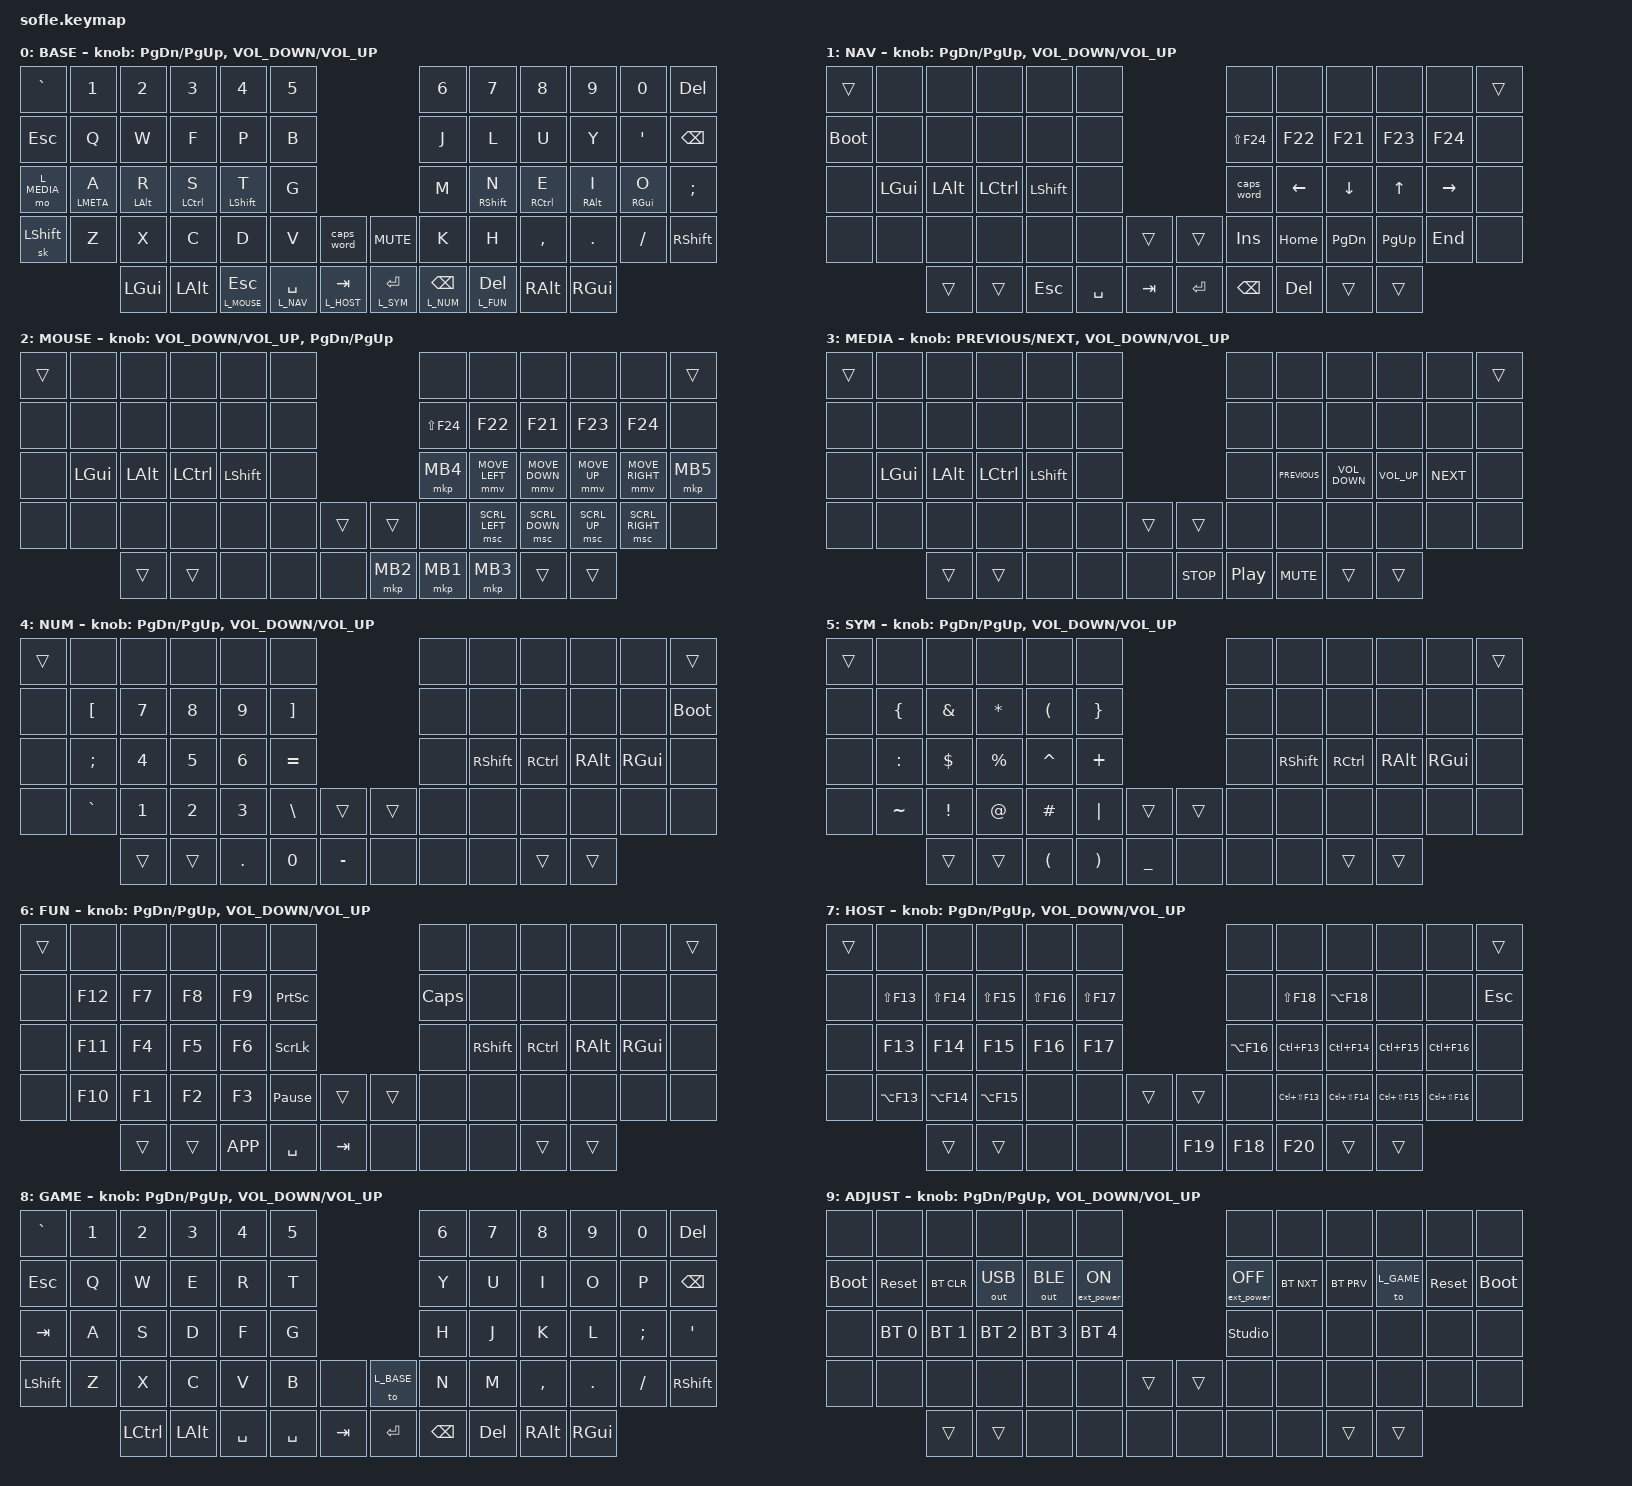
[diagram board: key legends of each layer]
/*
 * Copyright (c) 2020 The ZMK Contributors
 *
 * SPDX-License-Identifier: MIT
 */

#define ZMK_POINTING_DEFAULT_MOVE_VAL 800
#define ZMK_POINTING_DEFAULT_SCRL_VAL 20

#include <zmk-helpers/key-labels/sofle.h>
#include <behaviors.dtsi>
#include <dt-bindings/zmk/bt.h>
#include <dt-bindings/zmk/ext_power.h>
#include <dt-bindings/zmk/keys.h>
#include <dt-bindings/zmk/outputs.h>
#include <dt-bindings/zmk/pointing.h>

/* Layer numbers are part of the persisted ZMK keymap state. */
#define L_BASE 0
#define L_NAV 1
#define L_MOUSE 2
#define L_MEDIA 3
#define L_NUM 4
#define L_SYM 5
#define L_FUN 6
#define L_HOST 7
#define L_GAME 8
#define L_ADJUST 9

&sk {
    release-after-ms = <1000>;
    quick-release;
    lazy;
    ignore-modifiers;
};

&mmv {
    acceleration-exponent = <1>;
    time-to-max-speed-ms = <500>;
    delay-ms = <0>;
};

&lt {
    tapping-term-ms = <220>;
    flavor = "tap-preferred";
    quick-tap-ms = <180>;
};

/ {
    behaviors {
        hml: home_row_mods_left {
            compatible = "zmk,behavior-hold-tap";
            #binding-cells = <2>;
            flavor = "balanced";
            tapping-term-ms = <280>;
            quick-tap-ms = <175>;
            require-prior-idle-ms = <150>;
            hold-trigger-key-positions = <
                KEYS_R
                THUMBS_R
                RN0 RN1 RN2 RN3 RN4 RN5
                REC
            >;
            hold-trigger-on-release;
            bindings = <&kp>, <&kp>;
        };

        hmr: home_row_mods_right {
            compatible = "zmk,behavior-hold-tap";
            #binding-cells = <2>;
            flavor = "balanced";
            tapping-term-ms = <280>;
            quick-tap-ms = <175>;
            require-prior-idle-ms = <150>;
            hold-trigger-key-positions = <
                KEYS_L
                THUMBS_L
                LN0 LN1 LN2 LN3 LN4 LN5
                LEC
            >;
            hold-trigger-on-release;
            bindings = <&kp>, <&kp>;
        };

        /*
         * Dedicated HOST thumb layer-tap. Deliberately no quick-tap or
         * require-prior-idle: HOST must engage reliably immediately after
         * ordinary typing.
         */
        host_lt: host_lt {
            compatible = "zmk,behavior-hold-tap";
            #binding-cells = <2>;
            flavor = "balanced";
            tapping-term-ms = <200>;
            bindings = <&mo>, <&kp>;
        };
    };

    combos {
        compatible = "zmk,combos";
    };

    conditional_layers {
        compatible = "zmk,conditional-layers";

        adjust {
            if-layers = <L_NAV L_NUM>;
            then-layer = <L_ADJUST>;
        };
    };

    keymap {
        compatible = "zmk,keymap";

        BASE {
            label = "BASE";
            display-name = "BASE";
            /* Colemak-DH, bilateral HRM, dedicated number row, rotary encoders, and 6-layer thumb model. */
            bindings = <
&kp GRAVE   &kp N1             &kp N2             &kp N3             &kp N4              &kp N5                                         &kp N6              &kp N7              &kp N8             &kp N9             &kp N0             &kp DELETE
&kp ESCAPE  &kp Q              &kp W              &kp F              &kp P               &kp B                                          &kp J               &kp L               &kp U              &kp Y              &kp SQT            &kp BACKSPACE
&mo L_MEDIA &hml LMETA A       &hml LEFT_ALT R    &hml LCTRL S       &hml LEFT_SHIFT T   &kp G                                          &kp M               &hmr RIGHT_SHIFT N  &hmr RCTRL E       &hmr RIGHT_ALT I   &hmr RIGHT_GUI O   &kp SEMICOLON
&sk LSHFT   &kp Z              &kp X              &kp C              &kp D               &kp V       &caps_word          &kp C_MUTE     &kp K               &kp H               &kp COMMA          &kp DOT            &kp SLASH          &kp RIGHT_SHIFT
                               &kp LGUI           &kp LALT           &lt L_MOUSE ESCAPE  &lt L_NAV SPACE &host_lt L_HOST TAB &lt L_SYM ENTER &lt L_NUM BACKSPACE &lt L_FUN DELETE &kp RALT           &kp RGUI
            >;

            sensor-bindings =
                <&inc_dec_kp PAGE_DOWN PAGE_UP>,
                <&inc_dec_kp C_VOLUME_DOWN C_VOLUME_UP>;
        };

        NAV {
            label = "NAV";
            display-name = "NAV";
            /*
             * Right-hand navigation mirrors MOUSE and MEDIA. Functional-layer
             * thumbs are explicit. LT5 provides same-side left bootloader shortcut.
             * Semantic F21-F24 editing signals are interpreted by host bridges.
             */
            bindings = <
&trans       &none             &none              &none              &none               &none                                          &none               &none               &none              &none              &none              &trans
&bootloader  &none             &none              &none              &none               &none                                          &kp LS(F24)         &kp F22             &kp F21            &kp F23            &kp F24            &none
&none        &kp LGUI          &kp LALT           &kp LCTRL          &kp LEFT_SHIFT      &none                                          &caps_word          &kp LEFT            &kp DOWN           &kp UP             &kp RIGHT          &none
&none        &none             &none              &none              &none               &none       &trans              &trans         &kp INSERT          &kp HOME            &kp PAGE_DOWN      &kp PAGE_UP        &kp END            &none
                               &trans             &trans             &kp ESCAPE          &kp SPACE   &kp TAB             &kp ENTER      &kp BACKSPACE       &kp DELETE          &trans             &trans
            >;

            sensor-bindings =
                <&inc_dec_kp PAGE_DOWN PAGE_UP>,
                <&inc_dec_kp C_VOLUME_DOWN C_VOLUME_UP>;
        };

        MOUSE {
            label = "MOUSE";
            display-name = "MOUSE";
            /* NAV geometry: pointer on home, wheel on secondary bank, F21-F24 editing. */
            bindings = <
&trans       &none             &none              &none              &none               &none                                          &none               &none               &none              &none              &none              &trans
&none        &none             &none              &none              &none               &none                                          &kp LS(F24)         &kp F22             &kp F21            &kp F23            &kp F24            &none
&none        &kp LGUI          &kp LALT           &kp LCTRL          &kp LEFT_SHIFT      &none                                          &mkp MB4            &mmv MOVE_LEFT      &mmv MOVE_DOWN     &mmv MOVE_UP       &mmv MOVE_RIGHT    &mkp MB5
&none        &none             &none              &none              &none               &none       &trans              &trans         &none               &msc SCRL_LEFT      &msc SCRL_DOWN     &msc SCRL_UP       &msc SCRL_RIGHT    &none
                               &trans             &trans             &none               &none       &none               &mkp MB2       &mkp MB1            &mkp MB3            &trans             &trans
            >;

            sensor-bindings =
                <&inc_dec_kp C_VOLUME_DOWN C_VOLUME_UP>,
                <&inc_dec_kp PAGE_DOWN PAGE_UP>;
        };

        MEDIA {
            label = "MEDIA";
            display-name = "MEDIA";
            /* Directional media controls share NAV's right-hand geometry using Consumer HID. */
            bindings = <
&trans       &none             &none              &none              &none               &none                                          &none               &none               &none              &none              &none              &trans
&none        &none             &none              &none              &none               &none                                          &none               &none               &none              &none              &none              &none
&none        &kp LGUI          &kp LALT           &kp LCTRL          &kp LEFT_SHIFT      &none                                          &none               &kp C_PREVIOUS      &kp C_VOLUME_DOWN  &kp C_VOLUME_UP    &kp C_NEXT         &none
&none        &none             &none              &none              &none               &none       &trans              &trans         &none               &none               &none              &none              &none              &none
                               &trans             &trans             &none               &none       &none               &kp C_STOP     &kp C_PLAY_PAUSE    &kp C_MUTE          &trans             &trans
            >;

            sensor-bindings =
                <&inc_dec_kp C_PREVIOUS C_NEXT>,
                <&inc_dec_kp C_VOLUME_DOWN C_VOLUME_UP>;
        };

        NUM {
            label = "NUM";
            display-name = "NUM";
            /*
             * Standard numpad geometry on the left; mirrored mods on the right.
             * RT5 provides same-side right bootloader shortcut while holding NUM.
             */
            bindings = <
&trans       &none             &none              &none              &none               &none                                          &none               &none               &none              &none              &none              &trans
&none        &kp LEFT_BRACKET  &kp NUMBER_7       &kp NUMBER_8       &kp NUMBER_9        &kp RIGHT_BRACKET                              &none               &none               &none              &none              &none              &bootloader
&none        &kp SEMICOLON     &kp NUMBER_4       &kp NUMBER_5       &kp NUMBER_6        &kp EQUAL                                      &none               &kp RIGHT_SHIFT     &kp RCTRL          &kp RIGHT_ALT      &kp RIGHT_GUI      &none
&none        &kp GRAVE         &kp NUMBER_1       &kp NUMBER_2       &kp NUMBER_3        &kp BACKSLASH &trans              &trans       &none               &none               &none              &none              &none              &none
                               &trans             &trans             &kp PERIOD          &kp NUMBER_0 &kp MINUS           &none        &none               &none               &trans             &trans
            >;

            sensor-bindings =
                <&inc_dec_kp PAGE_DOWN PAGE_UP>,
                <&inc_dec_kp C_VOLUME_DOWN C_VOLUME_UP>;
        };

        SYM {
            label = "SYM";
            display-name = "SYM";
            /* Shifted NUM geometry; direct programming symbols on the thumbs. */
            bindings = <
&trans       &none             &none              &none              &none               &none                                          &none               &none               &none              &none              &none              &trans
&none        &kp LEFT_BRACE    &kp AMPERSAND      &kp ASTERISK       &kp LEFT_PARENTHESIS &kp RIGHT_BRACE                               &none               &none               &none              &none              &none              &none
&none        &kp COLON         &kp DOLLAR         &kp PERCENT        &kp CARET           &kp PLUS                                       &none               &kp RIGHT_SHIFT     &kp RCTRL          &kp RIGHT_ALT      &kp RIGHT_GUI      &none
&none        &kp TILDE         &kp EXCLAMATION    &kp AT_SIGN        &kp HASH            &kp PIPE    &trans              &trans         &none               &none               &none              &none              &none              &none
                               &trans             &trans             &kp LEFT_PARENTHESIS &kp RIGHT_PARENTHESIS &kp UNDERSCORE &none   &none               &none               &trans             &trans
            >;

            sensor-bindings =
                <&inc_dec_kp PAGE_DOWN PAGE_UP>,
                <&inc_dec_kp C_VOLUME_DOWN C_VOLUME_UP>;
        };

        FUN {
            label = "FUN";
            display-name = "FUN";
            /* F-key geometry mirrors NUM; the right hand remains modifiers. */
            bindings = <
&trans       &none             &none              &none              &none               &none                                          &none               &none               &none              &none              &none              &trans
&none        &kp F12           &kp F7             &kp F8             &kp F9              &kp PRINTSCREEN                                &kp CAPSLOCK        &none               &none              &none              &none              &none
&none        &kp F11           &kp F4             &kp F5             &kp F6              &kp SCROLLLOCK                                 &none               &kp RIGHT_SHIFT     &kp RCTRL          &kp RIGHT_ALT      &kp RIGHT_GUI      &none
&none        &kp F10           &kp F1             &kp F2             &kp F3              &kp PAUSE_BREAK &trans          &trans         &none               &none               &none              &none              &none              &none
                               &trans             &trans             &kp K_APP           &kp SPACE   &kp TAB             &none          &none               &none               &trans             &trans
            >;

            sensor-bindings =
                <&inc_dec_kp PAGE_DOWN PAGE_UP>,
                <&inc_dec_kp C_VOLUME_DOWN C_VOLUME_UP>;
        };

        HOST {
            label = "HOST";
            display-name = "HOST";
            /*
             * Semantic F-key protocol arranged by frequency: home row visits
             * workspaces, top row mirrors it one row up to move a window
             * there. Left bottom row holds system and terminal launchers.
             * Right home row has Previous Window and directional focus;
             * right bottom row has directional move. Right top row has
             * modal controls (Resize, Service) and Esc. Right thumbs carry
             * context actions (Fullscreen, Previous WS, Float).
             */
            bindings = <
&trans       &none             &none              &none              &none               &none                                          &none               &none               &none              &none              &none              &trans
&none        &kp LS(F13)       &kp LS(F14)        &kp LS(F15)        &kp LS(F16)         &kp LS(F17)                                    &none               &kp LS(F18)         &kp LA(F18)        &none              &none              &kp ESCAPE
&none        &kp F13           &kp F14            &kp F15            &kp F16             &kp F17                                        &kp LA(F16)         &kp LC(F13)         &kp LC(F14)        &kp LC(F15)        &kp LC(F16)        &none
&none        &kp LA(F13)       &kp LA(F14)        &kp LA(F15)        &none               &none       &trans              &trans         &none               &kp LC(LS(F13))     &kp LC(LS(F14))    &kp LC(LS(F15))    &kp LC(LS(F16))    &none
                               &trans             &trans             &none               &none       &none               &kp F19        &kp F18             &kp F20             &trans             &trans
            >;

            sensor-bindings =
                <&inc_dec_kp PAGE_DOWN PAGE_UP>,
                <&inc_dec_kp C_VOLUME_DOWN C_VOLUME_UP>;
        };

        GAME {
            label = "GAME";
            display-name = "GAME";
            /*
             * Single complete gaming layout on plain QWERTY.
             * Physical number row, direct modifiers, no HRMs, no sticky keys.
             * Deliberate exit to BASE via right encoder press (REC).
             */
            bindings = <
&kp GRAVE    &kp NUMBER_1      &kp NUMBER_2       &kp NUMBER_3       &kp NUMBER_4        &kp NUMBER_5                                   &kp NUMBER_6        &kp NUMBER_7        &kp NUMBER_8       &kp NUMBER_9       &kp NUMBER_0       &kp DELETE
&kp ESCAPE   &kp Q             &kp W              &kp E              &kp R               &kp T                                          &kp Y               &kp U               &kp I              &kp O              &kp P              &kp BACKSPACE
&kp TAB      &kp A             &kp S              &kp D              &kp F               &kp G                                          &kp H               &kp J               &kp K              &kp L              &kp SEMICOLON      &kp SQT
&kp LEFT_SHIFT &kp Z           &kp X              &kp C              &kp V               &kp B       &none               &to L_BASE     &kp N               &kp M               &kp COMMA          &kp DOT            &kp SLASH          &kp RIGHT_SHIFT
                               &kp LCTRL          &kp LALT           &kp SPACE           &kp SPACE   &kp TAB             &kp ENTER      &kp BACKSPACE       &kp DELETE          &kp RALT           &kp RGUI
            >;

            sensor-bindings =
                <&inc_dec_kp PAGE_DOWN PAGE_UP>,
                <&inc_dec_kp C_VOLUME_DOWN C_VOLUME_UP>;
        };

        ADJUST {
            label = "ADJUST";
            display-name = "ADJUST";
            /*
             * NAV + NUM only. Device management is explicit and source-local.
             * GAME is entered here deliberately, not from ordinary NAV keys.
             */
            bindings = <
&none        &none             &none              &none              &none               &none                                          &none               &none               &none              &none              &none              &none
&bootloader  &sys_reset        &bt BT_CLR         &out OUT_USB       &out OUT_BLE        &ext_power EP_ON                               &ext_power EP_OFF   &bt BT_NXT          &bt BT_PRV         &to L_GAME         &sys_reset         &bootloader
&none        &bt BT_SEL 0      &bt BT_SEL 1       &bt BT_SEL 2       &bt BT_SEL 3        &bt BT_SEL 4                                   &studio_unlock      &none               &none              &none              &none              &none
&none        &none             &none              &none              &none               &none       &trans              &trans         &none               &none               &none              &none              &none              &none
                               &trans             &trans             &none               &none       &none               &none          &none               &none               &trans             &trans
            >;

            sensor-bindings =
                <&inc_dec_kp PAGE_DOWN PAGE_UP>,
                <&inc_dec_kp C_VOLUME_DOWN C_VOLUME_UP>;
        };
    };
};
